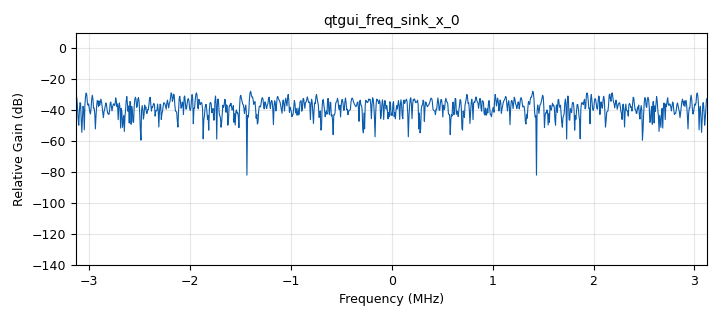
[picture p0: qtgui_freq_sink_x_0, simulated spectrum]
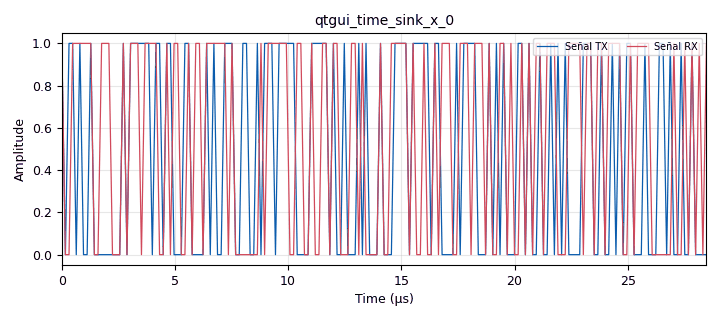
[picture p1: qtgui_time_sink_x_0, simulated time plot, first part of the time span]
options:
  parameters:
    author: Sebastian y Magda
    generate_options: qt_gui
    id: BER
    output_language: python
    title: BER
  states: {}

blocks:
- name: Ac
  id: variable_qtgui_range
  parameters:
    label: Amplitud de la carrier
    start: '0'
    step: '0.1'
    stop: '2'
    value: '0.1'
  states: {}
- name: B
  id: variable_qtgui_range
  parameters:
    label: Muestras por simbolo (SPS)
    rangeType: int
    start: '1'
    step: '1'
    stop: '40'
    value: '1'
  states: {}
- name: DC
  id: variable_qtgui_range
  parameters:
    label: nivel dc de modulante
    start: '-8'
    step: '0.1'
    stop: '8'
    value: '-1'
  states: {}
- name: 'No'
  id: variable_qtgui_range
  parameters:
    label: Amplitud del Ruido
    start: '0'
    step: '100E-6'
    stop: '0.800'
    value: '0.200'
  states: {}
- name: n
  id: variable_qtgui_range
  parameters:
    label: '# bit por simbolo'
    start: '1'
    step: '1'
    stop: '4'
    value: '1'
  states: {}
- name: samp_rate
  id: variable
  parameters:
    value: 12500000/2
  states: {}
- name: analog_noise_source_x_0
  id: analog_noise_source_x
  parameters:
    amp: 'No'
    noise_type: analog.GR_GAUSSIAN
    seed: '0'
    type: float
  states: {}
- name: analog_random_source_x_0
  id: analog_random_source_x
  parameters:
    max: int(math.pow(2,n))
    min: '0'
    num_samps: '10000000'
    repeat: 'False'
    type: byte
  states: {}
- name: blocks_add_const_vxx_0
  id: blocks_add_const_vxx
  parameters:
    const: DC
    type: float
  states: {}
- name: blocks_add_xx_0
  id: blocks_add_xx
  parameters:
    type: float
  states: {}
- name: blocks_char_to_float_0
  id: blocks_char_to_float
  parameters:
    scale: '500e-3'
  states: {}
- name: blocks_char_to_float_0_0
  id: blocks_char_to_float
  parameters:
    scale: '1'
  states: {}
- name: blocks_char_to_float_0_1
  id: blocks_char_to_float
  parameters:
    scale: '1'
  states: {}
- name: blocks_pack_k_bits_bb_0
  id: blocks_pack_k_bits_bb
  parameters:
    k: '8'
  states: {}
- name: blocks_pack_k_bits_bb_0_0
  id: blocks_pack_k_bits_bb
  parameters:
    k: '8'
  states: {}
- name: digital_binary_slicer_fb_0
  id: digital_binary_slicer_fb
  parameters: {}
  states: {}
- name: fec_ber_bf_0
  id: fec_ber_bf
  parameters:
    test_mode: 'False'
  states: {}
- name: import_0
  id: import
  parameters:
    imports: import math
  states: {}
- name: low_pass_filter_0
  id: low_pass_filter
  parameters:
    cutoff_freq: samp_rate/2
    decim: '1'
    gain: '1'
    samp_rate: samp_rate
    type: fir_filter_fff
    width: '10000'
    win: window.WIN_HAMMING
  states: {}
- name: qtgui_freq_sink_x_0
  id: qtgui_freq_sink_x
  parameters:
    bw: samp_rate
    fc: '0'
    fftsize: '1024'
    type: float
  states: {}
- name: qtgui_number_sink_0
  id: qtgui_number_sink
  parameters:
    autoscale: 'True'
    graph_type: qtgui.NUM_GRAPH_HORIZ
    type: float
  states: {}
- name: qtgui_time_sink_x_0
  id: qtgui_time_sink_x
  parameters:
    autoscale: 'True'
    label1: Señal TX
    label2: Señal RX
    nconnections: '2'
    size: 1024*32
    srate: samp_rate
    type: float
  states: {}
- name: virtual_sink_0
  id: virtual_sink
  parameters:
    stream_id: m_t
  states: {}
- name: virtual_source_0
  id: virtual_source
  parameters:
    stream_id: m_t
  states: {}

connections:
- [analog_noise_source_x_0, '0', blocks_add_xx_0, '1']
- [analog_random_source_x_0, '0', blocks_char_to_float_0, '0']
- [analog_random_source_x_0, '0', blocks_char_to_float_0_0, '0']
- [analog_random_source_x_0, '0', blocks_pack_k_bits_bb_0, '0']
- [blocks_add_const_vxx_0, '0', virtual_sink_0, '0']
- [blocks_add_xx_0, '0', low_pass_filter_0, '0']
- [blocks_char_to_float_0, '0', blocks_add_const_vxx_0, '0']
- [blocks_char_to_float_0_0, '0', qtgui_time_sink_x_0, '0']
- [blocks_char_to_float_0_1, '0', qtgui_time_sink_x_0, '1']
- [blocks_pack_k_bits_bb_0, '0', fec_ber_bf_0, '0']
- [blocks_pack_k_bits_bb_0_0, '0', fec_ber_bf_0, '1']
- [digital_binary_slicer_fb_0, '0', blocks_char_to_float_0_1, '0']
- [digital_binary_slicer_fb_0, '0', blocks_pack_k_bits_bb_0_0, '0']
- [fec_ber_bf_0, '0', qtgui_number_sink_0, '0']
- [low_pass_filter_0, '0', digital_binary_slicer_fb_0, '0']
- [low_pass_filter_0, '0', qtgui_freq_sink_x_0, '0']
- [virtual_source_0, '0', blocks_add_xx_0, '0']

metadata:
  file_format: 1
  grc_version: 3.10.2.0
